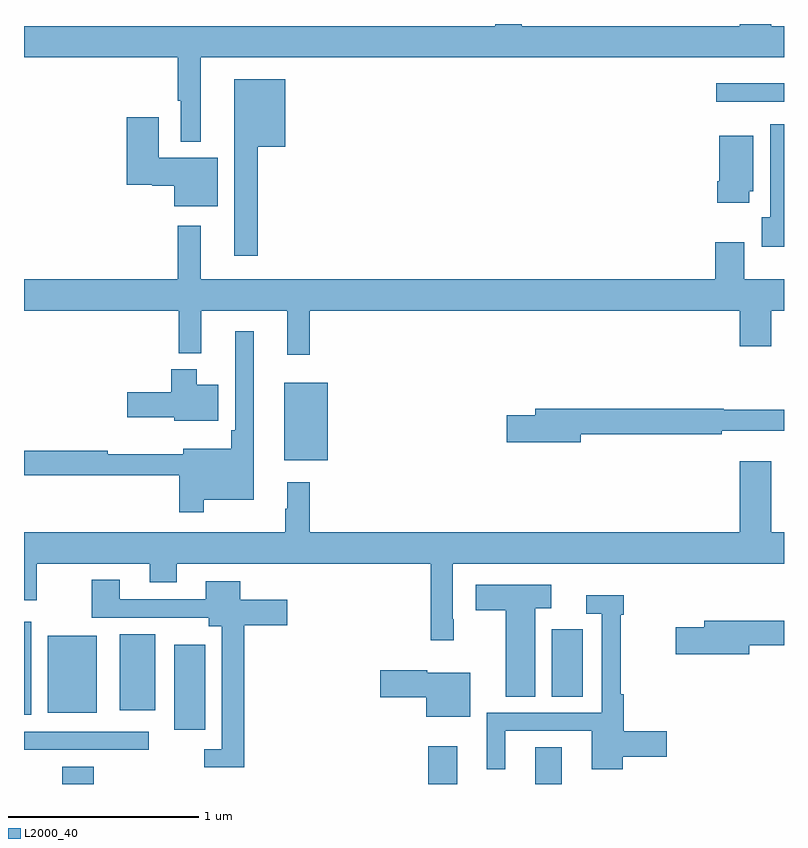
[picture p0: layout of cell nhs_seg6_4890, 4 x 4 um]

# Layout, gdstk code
import gdstk
lib = gdstk.Library(unit=1e-6, precision=1e-09)
def R(c, l, rs):  # rectangles x0, y0, x1, y1
    for r in rs: c.add(gdstk.rectangle(r[:2], r[2:], *l))
def P(c, l, *ps):  # polygons
    for p in ps: c.add(gdstk.Polygon(p, *l))
L2000_40 = (2000, 40)

nhs_seg6_4890 = lib.new_cell('nhs_seg6_4890')
R(nhs_seg6_4890, L2000_40, [(401.201,955.5,401.366,955.591), (403.127,955.5,403.279,955.699), (403.691,955.5,403.831,955.694), (401,955.68,401.656,955.776), (401.792,955.785,401.953,956.233), (401,955.865,401.038,956.353), (401.126,955.874,401.383,956.281), (401.504,955.889,401.692,956.287), (403.778,955.96,403.942,956.314), (402.371,957.203,402.598,957.613), (404.643,959.091,405,959.188)])
P(nhs_seg6_4890, L2000_40, [(401.929,959.324),(405,959.324),(405,959.488),(404.932,959.488),(404.932,959.5),(404.768,959.5),(404.768,959.488),(403.621,959.488),(403.621,959.5),(403.481,959.5),(403.481,959.488),(401,959.488),(401,959.324),(401.808,959.324),(401.808,959.095),(401.825,959.095),(401.825,958.88),(401.929,958.88)],
  [(402.229,958.853),(402.376,958.853),(402.376,959.209),(402.107,959.209),(402.107,958.281),(402.229,958.281)],
  [(402.019,958.795),(401.71,958.795),(401.71,959.008),(401.54,959.008),(401.54,958.655),(401.676,958.655),(401.676,958.648),(401.792,958.648),(401.792,958.541),(402.019,958.541)],
  [(405,958.972),(404.927,958.972),(404.927,958.482),(404.882,958.482),(404.882,958.328),(405,958.328)],
  [(404.818,958.62),(404.839,958.62),(404.839,958.912),(404.66,958.912),(404.66,958.672),(404.648,958.672),(404.648,958.56),(404.818,958.56)],
  [(402.503,957.992),(404.768,957.992),(404.768,957.804),(404.932,957.804),(404.932,957.992),(405,957.992),(405,958.156),(404.791,958.156),(404.791,958.351),(404.639,958.351),(404.639,958.156),(401.929,958.156),(401.929,958.438),(401.808,958.438),(401.808,958.156),(401,958.156),(401,957.992),(401.815,957.992),(401.815,957.767),(401.933,957.767),(401.933,957.992),(402.386,957.992),(402.386,957.759),(402.503,957.759)],
  [(401.947,956.996),(402.208,956.996),(402.208,957.883),(402.111,957.883),(402.111,957.361),(402.091,957.361),(402.091,957.265),(401.837,957.265),(401.837,957.236),(401.441,957.236),(401.441,957.254),(401,957.254),(401,957.126),(401.818,957.126),(401.818,956.931),(401.947,956.931)],
  [(402.022,957.601),(401.908,957.601),(401.908,957.682),(401.774,957.682),(401.774,957.561),(401.544,957.561),(401.544,957.431),(401.79,957.431),(401.79,957.413),(402.022,957.413)],
  [(403.93,957.34),(404.672,957.34),(404.672,957.359),(405,957.359),(405,957.469),(404.684,957.469),(404.684,957.476),(403.691,957.476),(403.691,957.44),(403.542,957.44),(403.542,957.298),(403.93,957.298)],
  [(403.262,956.368),(403.257,956.368),(403.257,956.66),(405,956.66),(405,956.824),(404.932,956.824),(404.932,957.199),(404.768,957.199),(404.768,956.824),(402.503,956.824),(402.503,957.088),(402.386,957.088),(402.386,956.948),(402.375,956.948),(402.375,956.824),(401,956.824),(401,956.466),(401.067,956.466),(401.067,956.66),(401.663,956.66),(401.663,956.561),(401.803,956.561),(401.803,956.66),(403.141,956.66),(403.141,956.256),(403.262,956.256)],
  [(402.158,956.336),(402.385,956.336),(402.385,956.47),(402.139,956.47),(402.139,956.566),(401.957,956.566),(401.957,956.472),(401.503,956.472),(401.503,956.575),(401.356,956.575),(401.356,956.376),(401.972,956.376),(401.972,956.33),(402.042,956.33),(402.042,955.683),(401.949,955.683),(401.949,955.587),(402.158,955.587)],
  [(403.69,956.426),(403.774,956.426),(403.774,956.548),(403.377,956.548),(403.377,956.414),(403.535,956.414),(403.535,955.96),(403.69,955.96)],
  [(403.534,955.779),(403.988,955.779),(403.988,955.578),(404.15,955.578),(404.15,955.643),(404.383,955.643),(404.383,955.778),(404.156,955.778),(404.156,955.972),(404.141,955.972),(404.141,956.39),(404.156,956.39),(404.156,956.494),(403.959,956.494),(403.959,956.397),(404.04,956.397),(404.04,955.875),(403.436,955.875),(403.436,955.578),(403.534,955.578)],
  [(404.818,956.23),(405,956.23),(405,956.359),(404.579,956.359),(404.579,956.325),(404.43,956.325),(404.43,956.183),(404.818,956.183)],
  [(403.348,956.086),(403.122,956.086),(403.122,956.099),(402.876,956.099),(402.876,955.957),(403.118,955.957),(403.118,955.853),(403.348,955.853)])

lib.write_gds('nhs_seg6_4890.gds')
